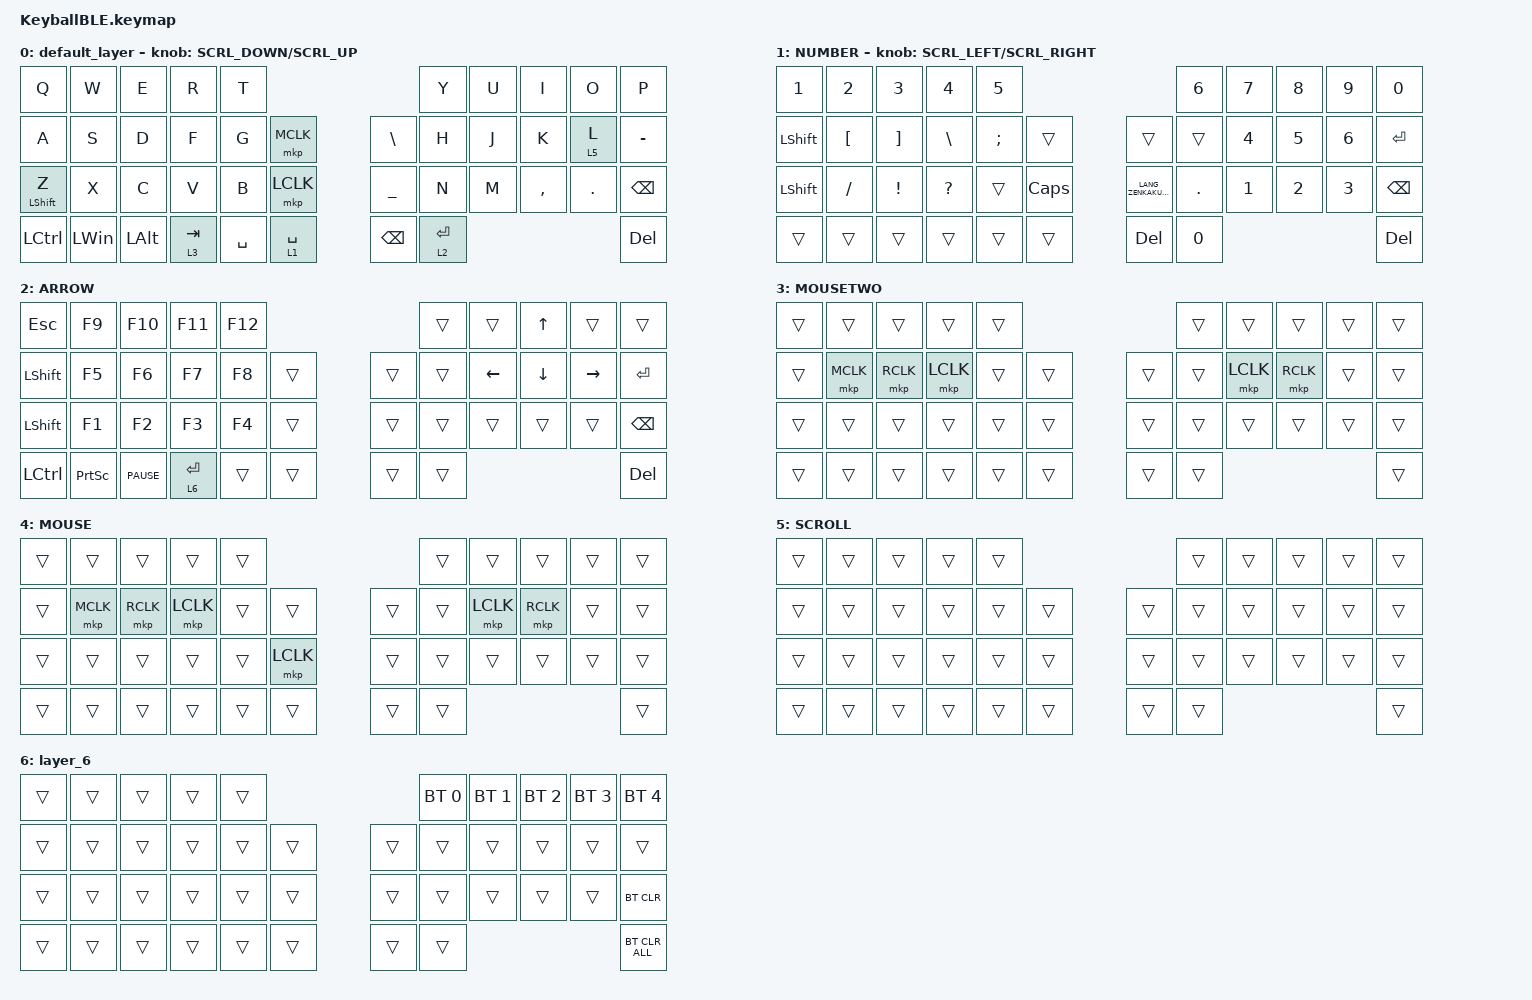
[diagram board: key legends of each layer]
#define ZMK_POINTING_DEFAULT_SCRL_VAL 120    // default: 10

#include <behaviors.dtsi>
#include <dt-bindings/zmk/bt.h>
#include <dt-bindings/zmk/keys.h>
#include <dt-bindings/zmk/pointing.h>

#define MOUSE 4
#define SCROLL 5
#define NUM 6

&mt {
    flavor = "balanced";
    quick-tap-ms = <0>;
};

/ {
    combos {
        compatible = "zmk,combos";

        double_quotation {
            bindings = <&kp DOUBLE_QUOTES>;
            key-positions = <20 21>;
        };
    };

    macros {
        to_layer_0: to_layer_0 {
            compatible = "zmk,behavior-macro-one-param";
            #binding-cells = <1>;
            bindings = <&to 0 &macro_param_1to1 &kp MACRO_PLACEHOLDER>;
            label = "TO_LAYER_0";
        };
    };

    behaviors {
        lt_to_layer_0: lt_to_layer_0 {
            compatible = "zmk,behavior-hold-tap";
            label = "LAYER_TAP_TO_0";
            bindings = <&mo>, <&to_layer_0>;

            #binding-cells = <2>;
            tapping-term-ms = <200>;
        };

        ROTATE: ROTATE {
            compatible = "zmk,behavior-sensor-rotate-var";
            label = "ROTATE";
            #sensor-binding-cells = <2>;
            bindings = <&msc>, <&msc>;

            tap-ms = <20>;
        };
    };

    keymap {
        compatible = "zmk,keymap";

        default_layer {
            bindings = <
&kp Q             &kp W         &kp E         &kp R      &kp T                                                 &kp Y        &kp U  &kp I      &kp O    &kp P
&kp A             &kp S         &kp D         &kp F      &kp G      &mkp MCLK                   &kp BACKSLASH  &kp H        &kp J  &kp K      &lt 5 L  &kp MINUS
&mt LEFT_SHIFT Z  &kp X         &kp C         &kp V      &kp B      &mkp LCLK                   &kp UNDER      &kp N        &kp M  &kp COMMA  &kp DOT  &kp BACKSPACE
&kp LCTRL         &kp LEFT_WIN  &kp LEFT_ALT  &lt 3 TAB  &kp SPACE  &lt_to_layer_0 1 SPACE      &kp BACKSPACE  &lt 2 ENTER                             &kp DEL
            >;

            sensor-bindings = <&ROTATE SCRL_DOWN SCRL_UP>;
        };

        NUMBER {
            bindings = <
&kp NUMBER_1    &kp NUMBER_2  &kp NUMBER_3       &kp NUMBER_4   &kp NUMBER_5                                          &kp NUMBER_6  &kp NUMBER_7  &kp NUMBER_8  &kp NUMBER_9  &kp NUMBER_0
&kp LEFT_SHIFT  &kp LBKT      &kp RIGHT_BRACKET  &kp BACKSLASH  &kp SEMICOLON  &trans        &trans                   &trans        &kp NUMBER_4  &kp NUMBER_5  &kp NUMBER_6  &kp ENTER
&kp LEFT_SHIFT  &kp SLASH     &kp EXCLAMATION    &kp QUESTION   &trans         &kp CAPS      &kp LANG_ZENKAKUHANKAKU  &kp PERIOD    &kp NUMBER_1  &kp NUMBER_2  &kp NUMBER_3  &kp BACKSPACE
&trans          &trans        &trans             &trans         &trans         &trans        &kp DELETE               &kp NUMBER_0                                            &kp DELETE
            >;

            sensor-bindings = <&ROTATE SCRL_LEFT SCRL_RIGHT>;
        };

        ARROW {
            bindings = <
&kp ESC           &kp F9           &kp F10      &kp F11      &kp F12                      &trans  &trans          &kp UP_ARROW    &trans           &trans
&kp LEFT_SHIFT    &kp F5           &kp F6       &kp F7       &kp F8   &trans      &trans  &trans  &kp LEFT_ARROW  &kp DOWN_ARROW  &kp RIGHT_ARROW  &kp ENTER
&kp LEFT_SHIFT    &kp F1           &kp F2       &kp F3       &kp F4   &trans      &trans  &trans  &trans          &trans          &trans           &kp BACKSPACE
&kp LEFT_CONTROL  &kp PRINTSCREEN  &kp C_PAUSE  &lt 6 ENTER  &trans   &trans      &trans  &trans                                                   &kp DELETE
            >;
        };

        MOUSETWO {
            bindings = <
&trans  &trans     &trans     &trans     &trans                      &trans  &trans     &trans     &trans  &trans
&trans  &mkp MCLK  &mkp RCLK  &mkp LCLK  &trans  &trans      &trans  &trans  &mkp LCLK  &mkp RCLK  &trans  &trans
&trans  &trans     &trans     &trans     &trans  &trans      &trans  &trans  &trans     &trans     &trans  &trans
&trans  &trans     &trans     &trans     &trans  &trans      &trans  &trans                                &trans
            >;
        };

        MOUSE {
            bindings = <
&trans  &trans     &trans     &trans     &trans                         &trans  &trans     &trans     &trans  &trans
&trans  &mkp MCLK  &mkp RCLK  &mkp LCLK  &trans  &trans         &trans  &trans  &mkp LCLK  &mkp RCLK  &trans  &trans
&trans  &trans     &trans     &trans     &trans  &mkp LCLK      &trans  &trans  &trans     &trans     &trans  &trans
&trans  &trans     &trans     &trans     &trans  &trans         &trans  &trans                                &trans
            >;
        };

        SCROLL {
            bindings = <
&trans  &trans  &trans  &trans  &trans                      &trans  &trans  &trans  &trans  &trans
&trans  &trans  &trans  &trans  &trans  &trans      &trans  &trans  &trans  &trans  &trans  &trans
&trans  &trans  &trans  &trans  &trans  &trans      &trans  &trans  &trans  &trans  &trans  &trans
&trans  &trans  &trans  &trans  &trans  &trans      &trans  &trans                          &trans
            >;
        };

        layer_6 {
            bindings = <
&trans  &trans  &trans  &trans  &trans                      &bt BT_SEL 0  &bt BT_SEL 1  &bt BT_SEL 2  &bt BT_SEL 3  &bt BT_SEL 4
&trans  &trans  &trans  &trans  &trans  &trans      &trans  &trans        &trans        &trans        &trans        &trans
&trans  &trans  &trans  &trans  &trans  &trans      &trans  &trans        &trans        &trans        &trans        &bt BT_CLR
&trans  &trans  &trans  &trans  &trans  &trans      &trans  &trans                                                  &bt BT_CLR_ALL
            >;
        };
    };
};
